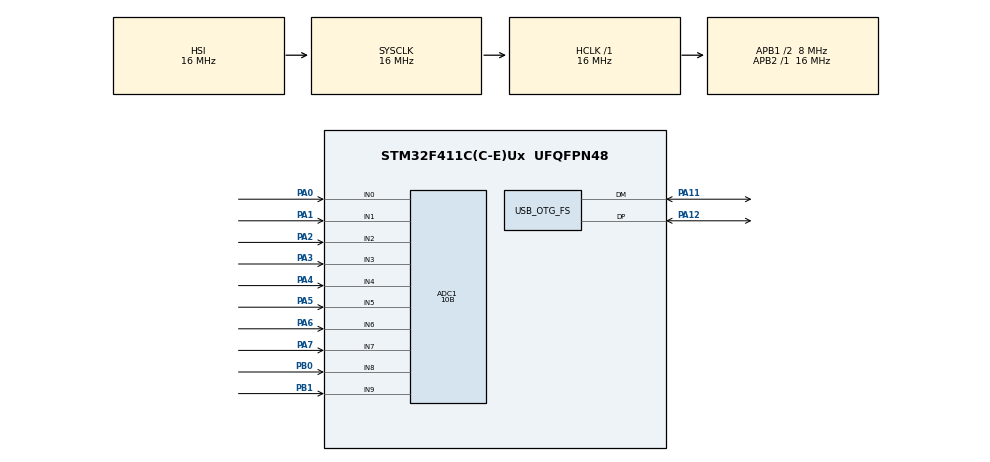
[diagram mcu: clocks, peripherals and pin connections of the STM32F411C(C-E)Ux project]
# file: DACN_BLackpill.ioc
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ADC1.Channel-0\#ChannelRegularConversion=ADC_CHANNEL_0
ADC1.Channel-1\#ChannelRegularConversion=ADC_CHANNEL_0
ADC1.Channel-10\#ChannelInjectedConversion=ADC_CHANNEL_0
ADC1.Channel-14\#ChannelRegularConversion=ADC_CHANNEL_0
ADC1.Channel-2\#ChannelRegularConversion=ADC_CHANNEL_0
ADC1.Channel-3\#ChannelRegularConversion=ADC_CHANNEL_0
ADC1.Channel-4\#ChannelRegularConversion=ADC_CHANNEL_0
ADC1.Channel-5\#ChannelRegularConversion=ADC_CHANNEL_0
ADC1.Channel-6\#ChannelRegularConversion=ADC_CHANNEL_0
ADC1.Channel-7\#ChannelRegularConversion=ADC_CHANNEL_0
ADC1.Channel-8\#ChannelRegularConversion=ADC_CHANNEL_0
ADC1.ContinuousConvMode=ENABLE
ADC1.DMAContinuousRequests=ENABLE
ADC1.DataAlign=ADC_DATAALIGN_LEFT
ADC1.DiscontinuousConvMode=DISABLE
ADC1.InjNumberOfConversion=1
ADC1.InjectedOffset-10\#ChannelInjectedConversion=0
ADC1.InjectedRank-10\#ChannelInjectedConversion=1
ADC1.NbrOfConversion=10
ADC1.NbrOfConversionFlag=1
ADC1.Rank-0\#ChannelRegularConversion=1
ADC1.Rank-1\#ChannelRegularConversion=2
ADC1.Rank-14\#ChannelRegularConversion=10
ADC1.Rank-2\#ChannelRegularConversion=3
ADC1.Rank-3\#ChannelRegularConversion=4
ADC1.Rank-4\#ChannelRegularConversion=5
ADC1.Rank-5\#ChannelRegularConversion=6
ADC1.Rank-6\#ChannelRegularConversion=7
ADC1.Rank-7\#ChannelRegularConversion=8
ADC1.Rank-8\#ChannelRegularConversion=9
ADC1.Resolution=ADC_RESOLUTION_10B
ADC1.SamplingTime-0\#ChannelRegularConversion=ADC_SAMPLETIME_3CYCLES
ADC1.SamplingTime-1\#ChannelRegularConversion=ADC_SAMPLETIME_3CYCLES
ADC1.SamplingTime-10\#ChannelInjectedConversion=ADC_SAMPLETIME_3CYCLES
ADC1.SamplingTime-14\#ChannelRegularConversion=ADC_SAMPLETIME_3CYCLES
ADC1.SamplingTime-2\#ChannelRegularConversion=ADC_SAMPLETIME_3CYCLES
ADC1.SamplingTime-3\#ChannelRegularConversion=ADC_SAMPLETIME_3CYCLES
ADC1.SamplingTime-4\#ChannelRegularConversion=ADC_SAMPLETIME_3CYCLES
ADC1.SamplingTime-5\#ChannelRegularConversion=ADC_SAMPLETIME_3CYCLES
ADC1.SamplingTime-6\#ChannelRegularConversion=ADC_SAMPLETIME_3CYCLES
ADC1.SamplingTime-7\#ChannelRegularConversion=ADC_SAMPLETIME_3CYCLES
ADC1.SamplingTime-8\#ChannelRegularConversion=ADC_SAMPLETIME_3CYCLES
ADC1.master=1
Dma.ADC1.0.Direction=DMA_PERIPH_TO_MEMORY
Dma.ADC1.0.FIFOMode=DMA_FIFOMODE_DISABLE
Dma.ADC1.0.Instance=DMA2_Stream0
Dma.ADC1.0.MemDataAlignment=DMA_MDATAALIGN_HALFWORD
Dma.ADC1.0.MemInc=DMA_MINC_ENABLE
Dma.ADC1.0.Mode=DMA_CIRCULAR
Dma.ADC1.0.PeriphDataAlignment=DMA_PDATAALIGN_HALFWORD
Dma.ADC1.0.PeriphInc=DMA_PINC_DISABLE
Dma.ADC1.0.Priority=DMA_PRIORITY_LOW
Dma.Request0=ADC1
Mcu.Family=STM32F4
Mcu.Name=STM32F411C(C-E)Ux
Mcu.Package=UFQFPN48
NVIC.ADC_IRQn=true\:0\:0\:false\:false\:true\:true\:true\:true
NVIC.DMA2_Stream0_IRQn=true\:0\:0\:false\:false\:true\:false\:true\:true
NVIC.OTG_FS_IRQn=true\:0\:0\:false\:false\:true\:true\:true\:true
NVIC.PriorityGroup=NVIC_PRIORITYGROUP_4
NVIC.TIM4_IRQn=true\:0\:0\:false\:false\:true\:true\:true\:true
PA0-WKUP.Signal=ADCx_IN0
PA1.Signal=ADCx_IN1
PA11.Mode=Device_Only
PA11.Signal=USB_OTG_FS_DM
PA12.Mode=Device_Only
PA12.Signal=USB_OTG_FS_DP
PA13.Mode=Serial_Wire
PA13.Signal=SYS_JTMS-SWDIO
PA14.Mode=Serial_Wire
PA14.Signal=SYS_JTCK-SWCLK
PA2.Signal=ADCx_IN2
PA3.Signal=ADCx_IN3
PA4.Signal=ADCx_IN4
PA5.Signal=ADCx_IN5
PA6.Signal=ADCx_IN6
PA7.Signal=ADCx_IN7
PB0.Signal=ADCx_IN8
PB1.Signal=ADCx_IN9
PH0\ -\ OSC_IN.Mode=HSE-External-Oscillator
PH0\ -\ OSC_IN.Signal=RCC_OSC_IN
PH1\ -\ OSC_OUT.Mode=HSE-External-Oscillator
PH1\ -\ OSC_OUT.Signal=RCC_OSC_OUT
ProjectManager.HeapSize=0x200
ProjectManager.StackSize=0x400
ProjectManager.TargetToolchain=STM32CubeIDE
RCC.48MHZClocksFreq_Value=48000000
RCC.AHBFreq_Value=16000000
RCC.APB1CLKDivider=RCC_HCLK_DIV2
RCC.APB1Freq_Value=8000000
RCC.APB1TimFreq_Value=16000000
RCC.APB2Freq_Value=16000000
RCC.APB2TimFreq_Value=16000000
RCC.CortexFreq_Value=16000000
RCC.HCLKFreq_Value=16000000
RCC.HSE_VALUE=25000000
RCC.HSI_VALUE=16000000
RCC.LSE_VALUE=32768
RCC.PLLM=15
RCC.PLLN=144
RCC.PLLQ=5
RCC.SYSCLKFreq_VALUE=16000000
RCC.VCOOutputFreq_Value=240000000
SH.ADCx_IN0.0=ADC1_IN0,IN0
SH.ADCx_IN1.0=ADC1_IN1,IN1
SH.ADCx_IN2.0=ADC1_IN2,IN2
SH.ADCx_IN3.0=ADC1_IN3,IN3
SH.ADCx_IN4.0=ADC1_IN4,IN4
SH.ADCx_IN5.0=ADC1_IN5,IN5
SH.ADCx_IN6.0=ADC1_IN6,IN6
SH.ADCx_IN7.0=ADC1_IN7,IN7
SH.ADCx_IN8.0=ADC1_IN8,IN8
SH.ADCx_IN9.0=ADC1_IN9,IN9
USB_DEVICE.CLASS_NAME_FS=CDC
USB_DEVICE.VirtualMode=Cdc
USB_DEVICE.VirtualModeFS=Cdc_FS
USB_OTG_FS.VirtualMode=Device_Only
VP_TIM4_VS_ClockSourceINT.Mode=Internal
VP_USB_DEVICE_VS_USB_DEVICE_CDC_FS.Mode=CDC_FS
board=custom

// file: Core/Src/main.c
/* USER CODE BEGIN Header */
/**
  ******************************************************************************
  * @file           : main.c
  * @brief          : Main program body - 10-bit RAW ADC
  ******************************************************************************
  */
/* USER CODE END Header */
#include "main.h"
#include "usb_device.h"

/* USER CODE BEGIN Includes */
#include "usbd_cdc_if.h"
#include <string.h>
#include <stdio.h>
/* USER CODE END Includes */

/* USER CODE BEGIN PD */
#define NUM_SENSORS 5
/* USER CODE END PD */

ADC_HandleTypeDef hadc1;
DMA_HandleTypeDef hdma_adc1;

TIM_HandleTypeDef htim4;

/* USER CODE BEGIN PV */
// ✅ Raw ADC values (10-bit: 0-1023)
volatile uint16_t adc_values[NUM_SENSORS];

// ✅ RAW Min/Max arrays
uint16_t sensor_min[NUM_SENSORS];
uint16_t sensor_max[NUM_SENSORS];

// ✅ Y values
float sensor_y_j0[NUM_SENSORS];
float y_min_avg = 0;
float y_max_avg = 0;
float line_position_X = 0.0;

// ✅ State machine
typedef enum {
    CALIB_IDLE,
    CALIB_TRACKING_RAW,
    CALIB_COMPUTE_X
} CalibState_t;

CalibState_t calib_state = CALIB_IDLE;

char usb_buffer[200];
uint8_t tracking_done = 0;

/* USER CODE END PV */

void SystemClock_Config(void);
static void MX_GPIO_Init(void);
static void MX_DMA_Init(void);
static void MX_ADC1_Init(void);
static void MX_TIM4_Init(void);
/* USER CODE BEGIN PFP */
void USB_Print(char* msg);
void Init_RAW_Tracking(void);
void Track_RAW_For_10s(void);
void Compute_YJ0_RAW(void);
void Compute_X_RAW(void);
void Print_X_Position(void);
/* USER CODE END PFP */

/* USER CODE BEGIN 0 */

void USB_Print(char* msg) {
    CDC_Transmit_FS((uint8_t*)msg, strlen(msg));
    HAL_Delay(10);
}

// ✅ Khởi tạo tracking RAW
void Init_RAW_Tracking(void) {
    for(int i = 0; i < NUM_SENSORS; i++) {
        sensor_min[i] = 1023;  // Max 10-bit value
        sensor_max[i] = 0;
    }
    tracking_done = 0;
}

// ✅ Track RAW MIN/MAX trong 10 giây
void Track_RAW_For_10s(void) {
    sprintf(usb_buffer, "\r\n>>> Tracking RAW MIN/MAX for 10 seconds...\r\n");
    USB_Print(usb_buffer);
    sprintf(usb_buffer, ">>> Move sensors over BLACK and WHITE surfaces!\r\n\r\n");
    USB_Print(usb_buffer);

    // Reset tracking
    Init_RAW_Tracking();

    uint32_t start_time = HAL_GetTick();
    uint32_t duration = 10000;  // 10 seconds

    while((HAL_GetTick() - start_time) < duration) {
        // Track RAW min/max
        for(int i = 0; i < NUM_SENSORS; i++) {
            if(adc_values[i] < sensor_min[i]) {
                sensor_min[i] = adc_values[i];
            }
            if(adc_values[i] > sensor_max[i]) {
                sensor_max[i] = adc_values[i];
            }
        }

        // Print countdown mỗi 1 giây
        static uint32_t last_print = 0;
        if((HAL_GetTick() - last_print) >= 1000) {
            uint32_t remaining = (duration - (HAL_GetTick() - start_time)) / 1000;
            sprintf(usb_buffer, ">>> Time remaining: %lu seconds...\r\n", remaining);
            USB_Print(usb_buffer);
            last_print = HAL_GetTick();
        }

        HAL_Delay(50);
    }

    tracking_done = 1;

    sprintf(usb_buffer, "\r\n>>> RAW tracking complete!\r\n");
    USB_Print(usb_buffer);

    // Hiển thị kết quả
    sprintf(usb_buffer, "RAW MIN: ");
    USB_Print(usb_buffer);
    for(int i = 0; i < NUM_SENSORS; i++) {
        sprintf(usb_buffer, "%4d ", sensor_min[i]);
        USB_Print(usb_buffer);
    }
    sprintf(usb_buffer, "\r\n");
    USB_Print(usb_buffer);

    sprintf(usb_buffer, "RAW MAX: ");
    USB_Print(usb_buffer);
    for(int i = 0; i < NUM_SENSORS; i++) {
        sprintf(usb_buffer, "%4d ", sensor_max[i]);
        USB_Print(usb_buffer);
    }
    sprintf(usb_buffer, "\r\n\r\n");
    USB_Print(usb_buffer);
}

// ✅ Tính Y_j0 từ RAW
void Compute_YJ0_RAW(void) {
    if(!tracking_done) {
        sprintf(usb_buffer, "\r\n>>> ERROR: Please complete tracking first!\r\n\r\n");
        USB_Print(usb_buffer);
        return;
    }

    // Tính y_min_avg và y_max_avg từ RAW
    uint32_t sum_min = 0;
    uint32_t sum_max = 0;

    for(int i = 0; i < NUM_SENSORS; i++) {
        sum_min += sensor_min[i];
        sum_max += sensor_max[i];
    }

    y_min_avg = (float)sum_min / NUM_SENSORS;
    y_max_avg = (float)sum_max / NUM_SENSORS;

    // Tính y_j0 cho từng cảm biến
    for(int i = 0; i < NUM_SENSORS; i++) {
        float x_max_i = (float)sensor_max[i];  // RAW max
        float x_min_i = (float)sensor_min[i];  // RAW min
        float x_ij = (float)adc_values[i];     // RAW hiện tại

        // Công thức: y_j0 = y_min + [(y_max - y_min) / (x_max,i - x_min,i)] × (x_ij - x_min,i)
        if((x_max_i - x_min_i) > 0) {
            sensor_y_j0[i] = y_min_avg +
                            ((y_max_avg - y_min_avg) / (x_max_i - x_min_i)) *
                            (x_ij - x_min_i);
        } else {
            sensor_y_j0[i] = y_min_avg;
        }
    }
}

// ✅ Tính X position từ Y_j0
void Compute_X_RAW(void) {
    if(!tracking_done) {
        sprintf(usb_buffer, "\r\n>>> ERROR: Please complete tracking first!\r\n\r\n");
        USB_Print(usb_buffer);
        return;
    }

    const float L_cb = 12.0;

    float y1 = sensor_y_j0[0];
    float y2 = sensor_y_j0[1];
    float y3 = sensor_y_j0[2];
    float y4 = sensor_y_j0[3];
    float y5 = sensor_y_j0[4];

    float sum_y = y1 + y2 + y3 + y4 + y5;

    if(sum_y < 0.01) {
        sprintf(usb_buffer, "\r\n>>> ERROR: Sum of y values too small!\r\n\r\n");
        USB_Print(usb_buffer);
        line_position_X = 0.0;
        return;
    }

    // X = L_cb × [2(y_5 - y_1) + (y_4 - y_2)] / Σy_i
    float numerator = 2.0 * (y5 - y1) + (y4 - y2);
    line_position_X = L_cb * (numerator / sum_y);
}

// ✅ In X position
void Print_Y(void){
	sprintf(usb_buffer, "Y_1: %.2f mm\r\n", sensor_y_j0[0]);
	        USB_Print(usb_buffer);
	    	sprintf(usb_buffer, "Y_2: %.2f mm\r\n", sensor_y_j0[1]);
	    	        USB_Print(usb_buffer);
	    	    	sprintf(usb_buffer, "Y_3: %.2f mm\r\n", sensor_y_j0[2]);
	    	    	        USB_Print(usb_buffer);
	    	    	    	sprintf(usb_buffer, "Y_4: %.2f mm\r\n", sensor_y_j0[3]);
	    	    	    	        USB_Print(usb_buffer);
	    	    	    	    	sprintf(usb_buffer, "Y_5: %.2f mm\r\n", sensor_y_j0[4]);
	    	    	    	    	        USB_Print(usb_buffer);
}
void Print_X_Position(void) {
    sprintf(usb_buffer, "\r\n========== LINE POSITION ==========\r\n");
    USB_Print(usb_buffer);

    sprintf(usb_buffer, "X = %.2f mm\r\n", line_position_X);
    USB_Print(usb_buffer);

    sprintf(usb_buffer, "===================================\r\n\r\n");
    USB_Print(usb_buffer);
}

/* USER CODE END 0 */

int main(void)
{
  HAL_Init();
  SystemClock_Config();

  MX_GPIO_Init();
  MX_DMA_Init();
  MX_ADC1_Init();
  MX_USB_DEVICE_Init();
  MX_TIM4_Init();

  /* USER CODE BEGIN 2 */

  HAL_Delay(2000);  // Wait for USB

  // Initialize
  Init_RAW_Tracking();

  // Start ADC with DMA
  HAL_ADC_Start_DMA(&hadc1, (uint32_t*)adc_values, NUM_SENSORS);
  HAL_Delay(100);

  // Welcome message
  sprintf(usb_buffer, "\r\n=== 10-bit RAW ADC Line Follower ===\r\n");
  USB_Print(usb_buffer);

  sprintf(usb_buffer, "Commands:\r\n");
  USB_Print(usb_buffer);
  sprintf(usb_buffer, "  '1' - Start 10s tracking (move over black/white)\r\n");
  USB_Print(usb_buffer);
  sprintf(usb_buffer, "  '3' - Show current RAW values\r\n\r\n");
  USB_Print(usb_buffer);

  /* USER CODE END 2 */

  /* Infinite loop */
  while (1)
  {
    /* USER CODE BEGIN 3 */

    switch(calib_state) {
      case CALIB_IDLE:
        // Idle - waiting for command
        HAL_Delay(100);
        break;

      case CALIB_TRACKING_RAW:
        // Track 10s để lưu MIN/MAX
        Track_RAW_For_10s();

        sprintf(usb_buffer, "\r\n>>> Starting continuous X computation...\r\n\r\n");
        USB_Print(usb_buffer);

        // ✅ Chuyển sang COMPUTE_X và KHÔNG BAO GIỜ QUAY LẠI
        calib_state = CALIB_COMPUTE_X;
        break;

      case CALIB_COMPUTE_X:
        // ✅ VÒNG LẶP VÔ HẠN - tính X liên tục

        // Tính Y_j0 từ RAW hiện tại (dùng min/max đã lưu)
        Compute_YJ0_RAW();

        // Tính X
        Compute_X_RAW();

        // In X
        Print_Y();
        Print_X_Position();

        // ✅ Delay ngắn để không spam quá nhanh
        HAL_Delay(100);  // 100ms = 10 lần/giây

        // ✅ KHÔNG BREAK - vẫn ở state CALIB_COMPUTE_X
        break;
    }

    /* USER CODE END 3 */
  }
}

void SystemClock_Config(void)
{
  RCC_OscInitTypeDef RCC_OscInitStruct = {0};
  RCC_ClkInitTypeDef RCC_ClkInitStruct = {0};

  __HAL_RCC_PWR_CLK_ENABLE();
  __HAL_PWR_VOLTAGESCALING_CONFIG(PWR_REGULATOR_VOLTAGE_SCALE1);

  RCC_OscInitStruct.OscillatorType = RCC_OSCILLATORTYPE_HSI|RCC_OSCILLATORTYPE_HSE;
  RCC_OscInitStruct.HSEState = RCC_HSE_ON;
  RCC_OscInitStruct.HSIState = RCC_HSI_ON;
  RCC_OscInitStruct.HSICalibrationValue = RCC_HSICALIBRATION_DEFAULT;
  RCC_OscInitStruct.PLL.PLLState = RCC_PLL_ON;
  RCC_OscInitStruct.PLL.PLLSource = RCC_PLLSOURCE_HSE;
  RCC_OscInitStruct.PLL.PLLM = 15;
  RCC_OscInitStruct.PLL.PLLN = 144;
  RCC_OscInitStruct.PLL.PLLP = RCC_PLLP_DIV2;
  RCC_OscInitStruct.PLL.PLLQ = 5;
  if (HAL_RCC_OscConfig(&RCC_OscInitStruct) != HAL_OK)
  {
    Error_Handler();
  }

  RCC_ClkInitStruct.ClockType = RCC_CLOCKTYPE_HCLK|RCC_CLOCKTYPE_SYSCLK
                              |RCC_CLOCKTYPE_PCLK1|RCC_CLOCKTYPE_PCLK2;
  RCC_ClkInitStruct.SYSCLKSource = RCC_SYSCLKSOURCE_HSI;
  RCC_ClkInitStruct.AHBCLKDivider = RCC_SYSCLK_DIV1;
  RCC_ClkInitStruct.APB1CLKDivider = RCC_HCLK_DIV2;
  RCC_ClkInitStruct.APB2CLKDivider = RCC_HCLK_DIV1;

  if (HAL_RCC_ClockConfig(&RCC_ClkInitStruct, FLASH_LATENCY_0) != HAL_OK)
  {
    Error_Handler();
  }
}

static void MX_ADC1_Init(void)
{
  ADC_ChannelConfTypeDef sConfig = {0};

  hadc1.Instance = ADC1;
  hadc1.Init.ClockPrescaler = ADC_CLOCK_SYNC_PCLK_DIV4;
  hadc1.Init.Resolution = ADC_RESOLUTION_10B;  // ✅ 10-bit
  hadc1.Init.ScanConvMode = ENABLE;
  hadc1.Init.ContinuousConvMode = ENABLE;
  hadc1.Init.DiscontinuousConvMode = DISABLE;
  hadc1.Init.ExternalTrigConvEdge = ADC_EXTERNALTRIGCONVEDGE_NONE;
  hadc1.Init.ExternalTrigConv = ADC_SOFTWARE_START;
  hadc1.Init.DataAlign = ADC_DATAALIGN_RIGHT;
  hadc1.Init.NbrOfConversion = 5;
  hadc1.Init.DMAContinuousRequests = ENABLE;
  hadc1.Init.EOCSelection = ADC_EOC_SEQ_CONV;
  if (HAL_ADC_Init(&hadc1) != HAL_OK)
  {
    Error_Handler();
  }

  // Channel 0 - PA0
  sConfig.Channel = ADC_CHANNEL_0;
  sConfig.Rank = 1;
  sConfig.SamplingTime = ADC_SAMPLETIME_84CYCLES;
  if (HAL_ADC_ConfigChannel(&hadc1, &sConfig) != HAL_OK)
  {
    Error_Handler();
  }

  // Channel 1 - PA1
  sConfig.Channel = ADC_CHANNEL_1;
  sConfig.Rank = 2;
  if (HAL_ADC_ConfigChannel(&hadc1, &sConfig) != HAL_OK)
  {
    Error_Handler();
  }

  // Channel 2 - PA2
  sConfig.Channel = ADC_CHANNEL_2;
  sConfig.Rank = 3;
  if (HAL_ADC_ConfigChannel(&hadc1, &sConfig) != HAL_OK)
  {
    Error_Handler();
  }

  // Channel 3 - PA3
  sConfig.Channel = ADC_CHANNEL_3;
  sConfig.Rank = 4;
  if (HAL_ADC_ConfigChannel(&hadc1, &sConfig) != HAL_OK)
  {
    Error_Handler();
  }

  // Channel 4 - PA4
  sConfig.Channel = ADC_CHANNEL_4;
  sConfig.Rank = 5;
  if (HAL_ADC_ConfigChannel(&hadc1, &sConfig) != HAL_OK)
  {
    Error_Handler();
  }
}

static void MX_TIM4_Init(void)
{
  TIM_ClockConfigTypeDef sClockSourceConfig = {0};
  TIM_MasterConfigTypeDef sMasterConfig = {0};

  htim4.Instance = TIM4;
  htim4.Init.Prescaler = 0;
  htim4.Init.CounterMode = TIM_COUNTERMODE_UP;
  htim4.Init.Period = 65535;
  htim4.Init.ClockDivision = TIM_CLOCKDIVISION_DIV1;
  htim4.Init.AutoReloadPreload = TIM_AUTORELOAD_PRELOAD_DISABLE;
  if (HAL_TIM_Base_Init(&htim4) != HAL_OK)
  {
    Error_Handler();
  }
  sClockSourceConfig.ClockSource = TIM_CLOCKSOURCE_INTERNAL;
  if (HAL_TIM_ConfigClockSource(&htim4, &sClockSourceConfig) != HAL_OK)
  {
    Error_Handler();
  }
  sMasterConfig.MasterOutputTrigger = TIM_TRGO_RESET;
  sMasterConfig.MasterSlaveMode = TIM_MASTERSLAVEMODE_DISABLE;
  if (HAL_TIMEx_MasterConfigSynchronization(&htim4, &sMasterConfig) != HAL_OK)
  {
    Error_Handler();
  }
}

static void MX_DMA_Init(void)
{
  __HAL_RCC_DMA2_CLK_ENABLE();

  HAL_NVIC_SetPriority(DMA2_Stream0_IRQn, 0, 0);
  HAL_NVIC_EnableIRQ(DMA2_Stream0_IRQn);
}

static void MX_GPIO_Init(void)
{
  GPIO_InitTypeDef GPIO_InitStruct = {0};

  __HAL_RCC_GPIOH_CLK_ENABLE();
  __HAL_RCC_GPIOA_CLK_ENABLE();
  __HAL_RCC_GPIOB_CLK_ENABLE();

  // Configure PA0-PA4 as Analog
  GPIO_InitStruct.Pin = GPIO_PIN_0 | GPIO_PIN_1 | GPIO_PIN_2 |
                        GPIO_PIN_3 | GPIO_PIN_4;
  GPIO_InitStruct.Mode = GPIO_MODE_ANALOG;
  GPIO_InitStruct.Pull = GPIO_NOPULL;
  HAL_GPIO_Init(GPIOA, &GPIO_InitStruct);
}

void Error_Handler(void)
{
  __disable_irq();
  while (1)
  {
  }
}
